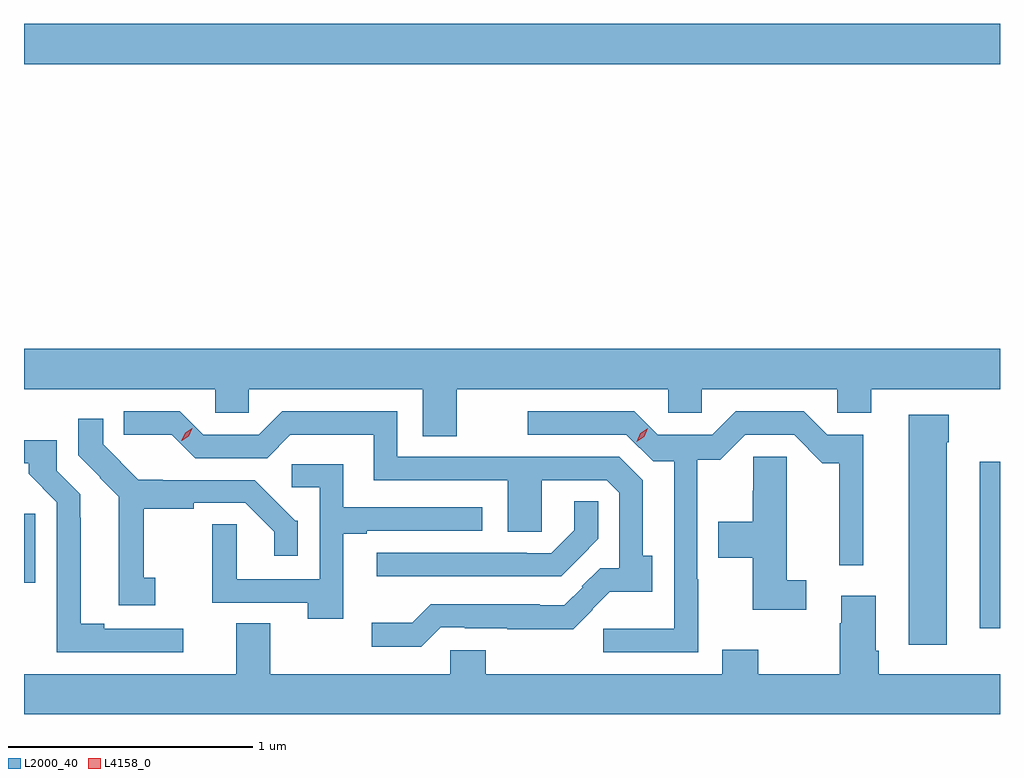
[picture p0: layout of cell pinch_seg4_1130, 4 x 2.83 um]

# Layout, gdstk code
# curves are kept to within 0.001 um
import gdstk
lib = gdstk.Library(unit=1e-6, precision=1e-09)
def R(c, l, rs):  # rectangles x0, y0, x1, y1
    for r in rs: c.add(gdstk.rectangle(r[:2], r[2:], *l))
def P(c, l, *ps):  # polygons
    for p in ps: c.add(gdstk.Polygon(p, *l))
L2000_40 = (2000, 40)
L4158_0 = (4158, 0)

pinch_seg4_1130 = lib.new_cell('pinch_seg4_1130')
R(pinch_seg4_1130, L2000_40, [(474.422,782.52,474.505,783.202), (470.505,782.705,470.551,782.989), (470.505,784.832,474.505,784.996)])
P(pinch_seg4_1130, L2000_40, [(472.279,783.5),(473.145,783.5),(473.145,783.402),(473.283,783.402),(473.283,783.5),(473.838,783.5),(473.838,783.402),(473.977,783.402),(473.977,783.5),(474.505,783.5),(474.505,783.664),(470.505,783.664),(470.505,783.5),(471.288,783.5),(471.288,783.402),(471.426,783.402),(471.426,783.5),(472.139,783.5),(472.139,783.307),(472.279,783.307)],
  [(472.212,782.523),(472.312,782.523),(472.312,782.52),(472.486,782.52),(472.486,782.516),(472.757,782.516),(472.836,782.595),(472.833,782.598),(472.905,782.67),(473.08,782.67),(473.08,782.817),(473.04,782.817),(473.04,783.126),(472.944,783.222),(472.035,783.222),(472.035,783.408),(471.564,783.408),(471.468,783.312),(471.24,783.312),(471.144,783.408),(470.914,783.408),(470.914,783.313),(471.11,783.313),(471.207,783.216),(471.501,783.216),(471.597,783.312),(471.939,783.312),(471.939,783.126),(472.487,783.126),(472.487,782.914),(472.627,782.914),(472.627,783.126),(472.893,783.126),(472.944,783.075),(472.944,782.766),(472.866,782.766),(472.791,782.691),(472.794,782.688),(472.72,782.614),(472.619,782.614),(472.619,782.617),(472.171,782.617),(472.096,782.542),(471.93,782.542),(471.93,782.444),(472.133,782.444)],
  [(473.268,782.72),(473.265,782.72),(473.265,783.211),(473.359,783.211),(473.46,783.312),(473.661,783.312),(473.777,783.196),(473.846,783.196),(473.846,782.778),(473.945,782.778),(473.945,783.312),(473.796,783.312),(473.7,783.408),(473.421,783.408),(473.325,783.312),(473.103,783.312),(473.007,783.408),(472.569,783.408),(472.569,783.312),(472.974,783.312),(473.083,783.204),(473.169,783.204),(473.169,782.517),(472.878,782.517),(472.878,782.421),(473.268,782.421)],
  [(474.286,783.281),(474.294,783.281),(474.294,783.394),(474.131,783.394),(474.131,782.451),(474.286,782.451)],
  [(471.043,782.726),(470.996,782.726),(470.996,783.01),(471.2,783.01),(471.2,783.033),(471.411,783.033),(471.53,782.914),(471.53,782.817),(471.627,782.817),(471.627,782.961),(471.616,782.961),(471.451,783.126),(471.073,783.126),(471.073,783.128),(470.974,783.128),(470.829,783.273),(470.829,783.379),(470.727,783.379),(470.727,783.229),(470.894,783.058),(470.894,782.613),(471.043,782.613)],
  [(471.157,782.517),(470.833,782.517),(470.833,782.537),(470.737,782.537),(470.736,783.069),(470.64,783.165),(470.64,783.291),(470.505,783.291),(470.505,783.195),(470.524,783.195),(470.524,783.152),(470.64,783.036),(470.64,782.421),(471.157,782.421)],
  [(473.71,782.717),(473.632,782.717),(473.632,783.113),(473.63,783.113),(473.63,783.222),(473.494,783.222),(473.494,783.083),(473.492,783.083),(473.492,782.956),(473.35,782.956),(473.35,782.809),(473.492,782.809),(473.492,782.596),(473.71,782.596)],
  [(471.814,782.907),(471.91,782.907),(471.91,782.919),(472.384,782.919),(472.384,783.015),(471.813,783.015),(471.813,783.191),(471.602,783.191),(471.602,783.097),(471.717,783.097),(471.717,782.721),(471.376,782.721),(471.376,782.945),(471.277,782.945),(471.277,782.625),(471.668,782.625),(471.668,782.559),(471.814,782.559)],
  [(472.78,782.807),(472.859,782.887),(472.859,783.04),(472.76,783.04),(472.76,782.921),(472.665,782.826),(472.565,782.826),(472.565,782.829),(471.951,782.829),(471.951,782.733),(472.707,782.733)],
  [(474.505,782.332),(474.008,782.332),(474.008,782.428),(473.995,782.428),(473.995,782.653),(473.855,782.653),(473.855,782.54),(473.848,782.54),(473.848,782.332),(473.514,782.332),(473.514,782.431),(473.366,782.431),(473.366,782.332),(472.398,782.332),(472.398,782.43),(472.251,782.43),(472.251,782.332),(471.514,782.332),(471.514,782.54),(471.374,782.54),(471.374,782.332),(470.505,782.332),(470.505,782.168),(474.505,782.168)])
P(pinch_seg4_1130, L4158_0, [(473.016,783.284),(473.016,783.284),(473.031,783.318),(473.062,783.339),(473.062,783.339),(473.062,783.339),(473.047,783.305),(473.016,783.284)],
  [(471.15,783.288),(471.15,783.288),(471.165,783.32),(471.195,783.34),(471.195,783.34),(471.195,783.34),(471.18,783.307),(471.151,783.288)])

lib.write_gds('pinch_seg4_1130.gds')
